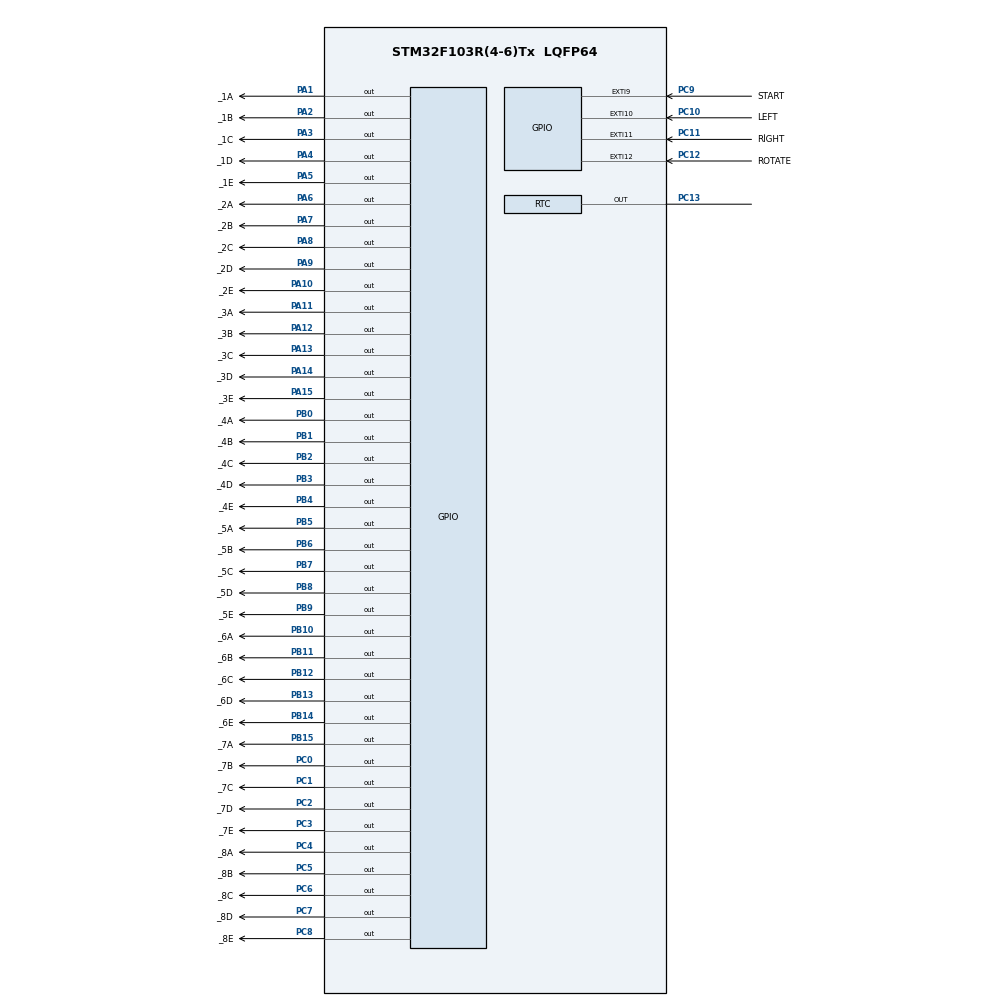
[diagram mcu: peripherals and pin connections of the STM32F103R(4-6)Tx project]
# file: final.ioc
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Mcu.Family=STM32F1
Mcu.Name=STM32F103R(4-6)Tx
Mcu.Package=LQFP64
NVIC.EXTI15_10_IRQn=true\:0\:0\:false\:false\:true\:true\:true
NVIC.EXTI9_5_IRQn=true\:0\:0\:false\:false\:true\:true\:true
NVIC.FLASH_IRQn=true\:0\:0\:false\:false\:true\:true\:true
NVIC.PVD_IRQn=true\:0\:0\:false\:false\:true\:true\:true
NVIC.PriorityGroup=NVIC_PRIORITYGROUP_4
NVIC.RCC_IRQn=true\:0\:0\:false\:false\:true\:true\:false
NVIC.RTC_Alarm_IRQn=true\:0\:0\:false\:false\:true\:true\:true
NVIC.RTC_IRQn=true\:0\:0\:false\:false\:true\:true\:true
PA1.GPIO_Label=_1A
PA1.Signal=GPIO_Output
PA10.GPIO_Label=_2E
PA10.Signal=GPIO_Output
PA11.GPIO_Label=_3A
PA11.Signal=GPIO_Output
PA12.GPIO_Label=_3B
PA12.Signal=GPIO_Output
PA13.GPIO_Label=_3C
PA13.Signal=GPIO_Output
PA14.GPIO_Label=_3D
PA14.Signal=GPIO_Output
PA15.GPIO_Label=_3E
PA15.Signal=GPIO_Output
PA2.GPIO_Label=_1B
PA2.Signal=GPIO_Output
PA3.GPIO_Label=_1C
PA3.Signal=GPIO_Output
PA4.GPIO_Label=_1D
PA4.Signal=GPIO_Output
PA5.GPIO_Label=_1E
PA5.Signal=GPIO_Output
PA6.GPIO_Label=_2A
PA6.Signal=GPIO_Output
PA7.GPIO_Label=_2B
PA7.Signal=GPIO_Output
PA8.GPIO_Label=_2C
PA8.Signal=GPIO_Output
PA9.GPIO_Label=_2D
PA9.Signal=GPIO_Output
PB0.GPIO_Label=_4A
PB0.Signal=GPIO_Output
PB1.GPIO_Label=_4B
PB1.Signal=GPIO_Output
PB10.GPIO_Label=_6A
PB10.Signal=GPIO_Output
PB11.GPIO_Label=_6B
PB11.Signal=GPIO_Output
PB12.GPIO_Label=_6C
PB12.Signal=GPIO_Output
PB13.GPIO_Label=_6D
PB13.Signal=GPIO_Output
PB14.GPIO_Label=_6E
PB14.Signal=GPIO_Output
PB15.GPIO_Label=_7A
PB15.Signal=GPIO_Output
PB2.GPIO_Label=_4C
PB2.Signal=GPIO_Output
PB3.GPIO_Label=_4D
PB3.Signal=GPIO_Output
PB4.GPIO_Label=_4E
PB4.Signal=GPIO_Output
PB5.GPIO_Label=_5A
PB5.Signal=GPIO_Output
PB6.GPIO_Label=_5B
PB6.Signal=GPIO_Output
PB7.GPIO_Label=_5C
PB7.Signal=GPIO_Output
PB8.GPIO_Label=_5D
PB8.Signal=GPIO_Output
PB9.GPIO_Label=_5E
PB9.Signal=GPIO_Output
PC0.GPIO_Label=_7B
PC0.Signal=GPIO_Output
PC1.GPIO_Label=_7C
PC1.Signal=GPIO_Output
PC10.GPIO_Label=LEFT
PC10.GPIO_PuPd=GPIO_PULLDOWN
PC10.Signal=GPXTI10
PC11.GPIO_Label=R\u0130GHT
PC11.GPIO_PuPd=GPIO_PULLDOWN
PC11.Signal=GPXTI11
PC12.GPIO_Label=ROTATE
PC12.GPIO_PuPd=GPIO_PULLDOWN
PC12.Signal=GPXTI12
PC13-TAMPER-RTC.Mode=RTC OUT
PC13-TAMPER-RTC.Signal=RTC_OUT
PC2.GPIO_Label=_7D
PC2.Signal=GPIO_Output
PC3.GPIO_Label=_7E
PC3.Signal=GPIO_Output
PC4.GPIO_Label=_8A
PC4.Signal=GPIO_Output
PC5.GPIO_Label=_8B
PC5.Signal=GPIO_Output
PC6.GPIO_Label=_8C
PC6.Signal=GPIO_Output
PC7.GPIO_Label=_8D
PC7.Signal=GPIO_Output
PC8.GPIO_Label=_8E
PC8.Signal=GPIO_Output
PC9.GPIO_Label=START
PC9.GPIO_PuPd=GPIO_PULLDOWN
PC9.Signal=GPXTI9
ProjectManager.HeapSize=0x200
ProjectManager.StackSize=0x400
ProjectManager.TargetToolchain=MDK-ARM V5.27
RCC.APB1Freq_Value=8000000
RCC.APB2Freq_Value=8000000
VP_RTC_VS_RTC_Activate.Mode=RTC_Enabled
VP_SYS_VS_ND.Mode=No_Debug
board=custom

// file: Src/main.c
/* USER CODE BEGIN Header */
/**
  ******************************************************************************
  * @file           : main.c
  * @brief          : Main program body
  ******************************************************************************
  * @attention
  *
  * <h2><center>&copy; Copyright (c) 2020 STMicroelectronics.
  * All rights reserved.</center></h2>
  *
  * This software component is licensed by ST under BSD 3-Clause license,
  * the "License"; You may not use this file except in compliance with the
  * License. You may obtain a copy of the License at:
  *                        opensource.org/licenses/BSD-3-Clause
  *
  ******************************************************************************
  */
/* USER CODE END Header */

#include "main.h"
#include <stdio.h>
#include <stdlib.h>
#include <time.h>

RTC_HandleTypeDef hrtc;
int matrix[8][5];
int currentShapeType;
int rotateCount = 0;
int miliseconds = 0;
int playing = 1;

struct point{
	int row;
	int col;
};

struct point currentShape[4];

void SystemClock_Config(void);
static void MX_GPIO_Init(void);
static void MX_RTC_Init(void);

/* USER CODE BEGIN 0 */
void pushShapeToMatrix(){
int i=0;
for(i=0; i<4; i++){
	if((currentShape[i].row != -1) && (currentShape[i].col != -1)){
		matrix[currentShape[i].row][currentShape[i].col] = 0;
	}
}
}

int generateShape(){
rotateCount = 0;
currentShapeType = rand() % 6;
//SHORT I
if(currentShapeType == 0 || currentShapeType == 5){
	if(matrix[7][2] == 0 || matrix[6][2] == 0) return 1;
	currentShape[0].row = 7;
	currentShape[0].col = 2;
	currentShape[1].row = 6;
	currentShape[1].col = 2;
	currentShape[2].row = -1;
	currentShape[2].col = -1;
	currentShape[3].row = -1;
	currentShape[3].col = -1;

}

//LONG I
else if(currentShapeType == 1){
	if(matrix[7][2] == 0 || matrix[6][2] == 0 || matrix[5][2] == 0) return 1;
	currentShape[0].row = 7;
	currentShape[0].col = 2;
	currentShape[1].row = 6;
	currentShape[1].col = 2;
	currentShape[2].row = 5;
	currentShape[2].col = 2;
	currentShape[3].row = -1;
	currentShape[3].col = -1;
}
// L
else if(currentShapeType == 2){
	if(matrix[7][2] == 0 || matrix[6][2] == 0 || matrix[6][3] == 0) return 1;
	currentShape[0].row = 7;
	currentShape[0].col = 2;
	currentShape[1].row = 6;
	currentShape[1].col = 2;
	currentShape[2].row = 6;
	currentShape[2].col = 3;
	currentShape[3].row = -1;
	currentShape[3].col = -1;
}

// Z
else if(currentShapeType == 3){
	if(matrix[7][2] == 0 || matrix[6][2] == 0 || matrix[6][3] == 0 || matrix[5][3] == 0) return 1;
	currentShape[0].row = 7;
	currentShape[0].col = 2;
	currentShape[1].row = 6;
	currentShape[1].col = 2;
	currentShape[2].row = 6;
	currentShape[2].col = 3;
	currentShape[3].row = 5;
	currentShape[3].col = 3;
}

// SQUARE

else{
	if(matrix[7][2] == 0 || matrix[6][2] == 0 || matrix[6][3] == 0 || matrix[7][3] == 0) return 1;
	currentShape[0].row = 7;
	currentShape[0].col = 2;
	currentShape[1].row = 6;
	currentShape[1].col = 2;
	currentShape[2].row = 6;
	currentShape[2].col = 3;
	currentShape[3].row = 7;
	currentShape[3].col = 3;
}

//PUSH SHAPE TO MATRIX
pushShapeToMatrix();
return 0;
}

int checkRowOfShape(int k, int c){
	int i=0;
	for(i=0; i<4; i++){
		if((currentShape[i].row != -1) && (currentShape[i].col != -1)){
		if(currentShape[i].row == k && currentShape[i].col == c){
			return 1;
		}
	}
	}
	return 0;
}

int checkSettled(){
	int i=0;
	for(i=0; i<4; i++){
		if((currentShape[i].row != -1) && (currentShape[i].col != -1)){
			int check = checkRowOfShape(currentShape[i].row - 1, currentShape[i].col);
			if((matrix[currentShape[i].row - 1][currentShape[i].col] == 0) && check == 0){
				return 1;
			}
			if(currentShape[i].row == 0){
				return 1;
			}
		}
	}
	return 0;
}

void cleanBackShape(){
	int i=0;
	for(i=0; i<4; i++){
		if((currentShape[i].row != -1) && (currentShape[i].col != -1)){
			matrix[currentShape[i].row][currentShape[i].col] = 1;
		}
	}
}

int shiftBelow(){
	cleanBackShape();
	int i=0;
	int n=0, k=0;
	for(i=0; i<4; i++){
		if((currentShape[i].row != -1) && (currentShape[i].col != -1)){
			k++;
			if((matrix[currentShape[i].row - 1][currentShape[i].col] == 1) && (currentShape[i].row - 1 >= 0)){
				n++;
			}
		}
	}
	if(k == n){
		for(i=0; i<4; i++){
			if((currentShape[i].row != -1) && (currentShape[i].col != -1)){
				currentShape[i].row --;
			}
		}
		pushShapeToMatrix();
		return 1;
	}
	else{
		pushShapeToMatrix();
		return 0;
	}
	/*cleanBackShape();
	int i=0;
	for(i=0; i<4; i++){
		if((currentShape[i].row != -1) && (currentShape[i].col != -1)){
			currentShape[i].row --;
		}
	}
	pushShapeToMatrix();
	*/
}

void resetMatrix(){
int i=0;
int j=0;
for(i=0; i<10; i++){
	for(j=0; j<5; j++){
		matrix[i][j] = 1;
	}
}
}
void setAllLeds(){
	// ROW 1
	HAL_GPIO_WritePin(GPIOA, _1A_Pin, matrix[0][0]);
	HAL_GPIO_WritePin(GPIOA, _1B_Pin, matrix[0][1]);
	HAL_GPIO_WritePin(GPIOA, _1C_Pin, matrix[0][2]);
	HAL_GPIO_WritePin(GPIOA, _1D_Pin, matrix[0][3]);
	HAL_GPIO_WritePin(GPIOA, _1E_Pin, matrix[0][4]);

	// ROW 2
	HAL_GPIO_WritePin(GPIOA, _2A_Pin, matrix[1][0]);
	HAL_GPIO_WritePin(GPIOA, _2B_Pin, matrix[1][1]);
	HAL_GPIO_WritePin(GPIOA, _2C_Pin, matrix[1][2]);
	HAL_GPIO_WritePin(GPIOA, _2D_Pin, matrix[1][3]);
	HAL_GPIO_WritePin(GPIOA, _2E_Pin, matrix[1][4]);

	// ROW 3
	HAL_GPIO_WritePin(GPIOA, _3A_Pin, matrix[2][0]);
	HAL_GPIO_WritePin(GPIOA, _3B_Pin, matrix[2][1]);
	HAL_GPIO_WritePin(GPIOA, _3C_Pin, matrix[2][2]);
	HAL_GPIO_WritePin(GPIOA, _3D_Pin, matrix[2][3]);
	HAL_GPIO_WritePin(GPIOA, _3E_Pin, matrix[2][4]);

	// ROW 4
	HAL_GPIO_WritePin(GPIOB, _4A_Pin, matrix[3][0]);
	HAL_GPIO_WritePin(GPIOB, _4B_Pin, matrix[3][1]);
	HAL_GPIO_WritePin(GPIOB, _4C_Pin, matrix[3][2]);
	HAL_GPIO_WritePin(GPIOB, _4D_Pin, matrix[3][3]);
	HAL_GPIO_WritePin(GPIOB, _4E_Pin, matrix[3][4]);

	// ROW 5
	HAL_GPIO_WritePin(GPIOB, _5A_Pin, matrix[4][0]);
	HAL_GPIO_WritePin(GPIOB, _5B_Pin, matrix[4][1]);
	HAL_GPIO_WritePin(GPIOB, _5C_Pin, matrix[4][2]);
	HAL_GPIO_WritePin(GPIOB, _5D_Pin, matrix[4][3]);
	HAL_GPIO_WritePin(GPIOB, _5E_Pin, matrix[4][4]);

	// ROW 6
	HAL_GPIO_WritePin(GPIOB, _6A_Pin, matrix[5][0]);
	HAL_GPIO_WritePin(GPIOB, _6B_Pin, matrix[5][1]);
	HAL_GPIO_WritePin(GPIOB, _6C_Pin, matrix[5][2]);
	HAL_GPIO_WritePin(GPIOB, _6D_Pin, matrix[5][3]);
	HAL_GPIO_WritePin(GPIOB, _6E_Pin, matrix[5][4]);

	// ROW 7
	HAL_GPIO_WritePin(GPIOB, _7A_Pin, matrix[6][0]);
	HAL_GPIO_WritePin(GPIOC, _7B_Pin, matrix[6][1]);
	HAL_GPIO_WritePin(GPIOC, _7C_Pin, matrix[6][2]);
	HAL_GPIO_WritePin(GPIOC, _7D_Pin, matrix[6][3]);
	HAL_GPIO_WritePin(GPIOC, _7E_Pin, matrix[6][4]);

	// ROW 8
	HAL_GPIO_WritePin(GPIOC, _8A_Pin, matrix[7][0]);
	HAL_GPIO_WritePin(GPIOC, _8B_Pin, matrix[7][1]);
	HAL_GPIO_WritePin(GPIOC, _8C_Pin, matrix[7][2]);
	HAL_GPIO_WritePin(GPIOC, _8D_Pin, matrix[7][3]);
	HAL_GPIO_WritePin(GPIOC, _8E_Pin, matrix[7][4]);

}
void rotateShortI(){
cleanBackShape();
int nRotate = rotateCount % 2;
if(nRotate == 0){
if((matrix[currentShape[1].row + 1][currentShape[1].col + 1] == 1) && (currentShape[1].row + 1 <=7) && (currentShape[1].col + 1 <=4)){
	currentShape[1].col++;
	currentShape[1].row++;
	rotateCount++;
}
}
else{
if((matrix[currentShape[1].row - 1][currentShape[1].col - 1] == 1) && (currentShape[1].row - 1 >=0) && (currentShape[1].col - 1 >= 0)){
	currentShape[1].col--;
	currentShape[1].row--;
	rotateCount++;
}
}
}
void rotateLongI(){
cleanBackShape();
int nRotate = rotateCount % 2;
if(nRotate == 0){
if((matrix[currentShape[0].row - 1][currentShape[0].col - 1] == 1) && (currentShape[0].row - 1 >=0) && (currentShape[0].col - 1 >= 0) &&
(matrix[currentShape[2].row + 1][currentShape[2].col + 1] == 1) && (currentShape[2].row + 1 <=7) && (currentShape[2].col + 1 <=4)
){
	currentShape[0].col--;
	currentShape[0].row--;
	currentShape[2].col++;
	currentShape[2].row++;
	rotateCount++;
}
}
else{
if((matrix[currentShape[0].row + 1][currentShape[0].col + 1] == 1) && (currentShape[0].row + 1 <=7) && (currentShape[0].col + 1 <= 4) &&
(matrix[currentShape[2].row - 1][currentShape[2].col - 1] == 1) && (currentShape[2].row - 1 >=0) && (currentShape[2].col - 1 >=0)
){
	currentShape[0].col++;
	currentShape[0].row++;
	currentShape[2].col--;
	currentShape[2].row--;
	rotateCount++;
}
}
}
void rotateZ(){
	cleanBackShape();
    int nRotate = rotateCount % 2;
    if(nRotate == 0){
        if((matrix[currentShape[0].row - 1][currentShape[0].col - 1] == 1) && (matrix[currentShape[0].row][currentShape[0].col + 1] == 1) && currentShape[0].col - 1 >= 0){
            currentShape[0].col--;
            currentShape[0].row--;
            currentShape[2].col--;
            currentShape[2].row++;
            currentShape[3].row+=2;
				rotateCount++;
        }
    }else{
        if((matrix[currentShape[1].row][currentShape[1].col + 1] == 1) && (matrix[currentShape[1].row - 1][currentShape[0].col + 1] == 1) && currentShape[0].row - 1 >= 0){
            currentShape[0].col++;
            currentShape[0].row++;
            currentShape[2].col++;
            currentShape[2].row--;
            currentShape[3].row-=2;
				rotateCount++;
        }
    }
}

void rotateL(){
	cleanBackShape();
    int nRotate = rotateCount % 4;
    if(nRotate == 0){
        if(matrix[currentShape[2].row + 1][currentShape[2].col] == 1){
            currentShape[0].row--;
            currentShape[1].col++;
            currentShape[2].row++;
					rotateCount++;
        }

    }else if(nRotate == 1){
        if(matrix[currentShape[2].row][currentShape[2].col - 1] == 1){
            currentShape[0].col++;
            currentShape[1].row++;
            currentShape[2].col--;
					rotateCount++;
        }
    }else if (nRotate == 2) {
        if(matrix[currentShape[2].row - 1][currentShape[2].col] == 1){
            currentShape[0].row++;
            currentShape[1].col--;
            currentShape[2].row--;
					rotateCount++;
        }
    } else {
        if(matrix[currentShape[2].row - 1][currentShape[2].col + 1] == 1){
            currentShape[0].col--;
            currentShape[1].row--;
            currentShape[2].col++;
					rotateCount++;
        }
    }
}

void rotate(){
// SHORT I
if(currentShapeType == 0 || currentShapeType == 5){
	rotateShortI();
}

//LONG I
else if(currentShapeType == 1){
	rotateLongI();
}
// L
else if(currentShapeType == 2){
	rotateL();
}

// Z
else if(currentShapeType == 3){
	rotateZ();
}

pushShapeToMatrix();
}

void removeRow(){
	int i,j, rows=0, check = 0, startRow=0;
	for(i=0; i<8; i++){
		int k = 0;
		for(j=0; j<5; j++){
			if(matrix[i][j] == 0)
				k++;
		}
		if(k == 5){
			rows++;
		}
		if(k==5 && check == 0){
			check = 1;
			startRow = i;
		}
	}
	if(rows > 0){
	for(i=startRow; i<8-rows; i++){
		for(j=0; j<5; j++){
			matrix[i][j] = matrix[i+rows][j];
			matrix[i+rows][j] = 1;
		}
	}
}
}

void shiftLeft(){
cleanBackShape();
	int i=0;
	int n=0, k=0;
	for(i=0; i<4; i++){
		if((currentShape[i].row != -1) && (currentShape[i].col != -1)){
			k++;
			if((matrix[currentShape[i].row][currentShape[i].col - 1] == 1) && (currentShape[i].col - 1 >= 0)){
				n++;
			}
		}
	}
	if(k == n){
		for(i=0; i<4; i++){
			if((currentShape[i].row != -1) && (currentShape[i].col != -1)){
				currentShape[i].col --;
			}
		}
		pushShapeToMatrix();
	}
}

void shiftRight(){
cleanBackShape();
	int i=0;
	int n=0, k=0;
	for(i=0; i<4; i++){
		if((currentShape[i].row != -1) && (currentShape[i].col != -1)){
			k++;
			if((matrix[currentShape[i].row][currentShape[i].col + 1] == 1) && (currentShape[i].col + 1 <= 4)){
				n++;
			}
		}
	}
	if(k == n){
		for(i=0; i<4; i++){
			if((currentShape[i].row != -1) && (currentShape[i].col != -1)){
				currentShape[i].col ++;
			}
		}
		pushShapeToMatrix();
	}
}

void restart(){
	resetMatrix();
	generateShape();
	setAllLeds();
	playing = 1;
}
/* USER CODE END 0 */

int main(void)
{

  /* MCU Configuration--------------------------------------------------------*/

  /* Reset of all peripherals, Initializes the Flash interface and the Systick. */
  HAL_Init();

  /* Configure the system clock */
  SystemClock_Config();

  /* Initialize all configured peripherals */
  MX_GPIO_Init();
  MX_RTC_Init();
  /* USER CODE BEGIN 2 */
	srand(5);
	resetMatrix();
	generateShape();
	setAllLeds();

  /* USER CODE END 2 */

  /* Infinite loop */
  while (1)
  {
		HAL_Delay(500);
		int check = shiftBelow();
		setAllLeds();
		if(check == 0){ // if shape is settled create new one
			removeRow();
			setAllLeds();
			int res = generateShape();
			if(res == 0)
				setAllLeds();
			else{
				playing = 0;
				while(playing);
			}
		}

  }
}

void SystemClock_Config(void)
{
  RCC_OscInitTypeDef RCC_OscInitStruct = {0};
  RCC_ClkInitTypeDef RCC_ClkInitStruct = {0};
  RCC_PeriphCLKInitTypeDef PeriphClkInit = {0};

  /** Initializes the CPU, AHB and APB busses clocks
  */
  RCC_OscInitStruct.OscillatorType = RCC_OSCILLATORTYPE_HSI|RCC_OSCILLATORTYPE_LSI;
  RCC_OscInitStruct.HSIState = RCC_HSI_ON;
  RCC_OscInitStruct.HSICalibrationValue = RCC_HSICALIBRATION_DEFAULT;
  RCC_OscInitStruct.LSIState = RCC_LSI_ON;
  RCC_OscInitStruct.PLL.PLLState = RCC_PLL_NONE;
  if (HAL_RCC_OscConfig(&RCC_OscInitStruct) != HAL_OK)
  {
    Error_Handler();
  }
  /** Initializes the CPU, AHB and APB busses clocks
  */
  RCC_ClkInitStruct.ClockType = RCC_CLOCKTYPE_HCLK|RCC_CLOCKTYPE_SYSCLK
                              |RCC_CLOCKTYPE_PCLK1|RCC_CLOCKTYPE_PCLK2;
  RCC_ClkInitStruct.SYSCLKSource = RCC_SYSCLKSOURCE_HSI;
  RCC_ClkInitStruct.AHBCLKDivider = RCC_SYSCLK_DIV1;
  RCC_ClkInitStruct.APB1CLKDivider = RCC_HCLK_DIV1;
  RCC_ClkInitStruct.APB2CLKDivider = RCC_HCLK_DIV1;

  if (HAL_RCC_ClockConfig(&RCC_ClkInitStruct, FLASH_LATENCY_0) != HAL_OK)
  {
    Error_Handler();
  }
  PeriphClkInit.PeriphClockSelection = RCC_PERIPHCLK_RTC;
  PeriphClkInit.RTCClockSelection = RCC_RTCCLKSOURCE_LSI;
  if (HAL_RCCEx_PeriphCLKConfig(&PeriphClkInit) != HAL_OK)
  {
    Error_Handler();
  }
}

static void MX_RTC_Init(void)
{

  RTC_TimeTypeDef sTime = {0};
  RTC_DateTypeDef DateToUpdate = {0};
  RTC_AlarmTypeDef sAlarm = {0};

  /** Initialize RTC Only
  */
  hrtc.Instance = RTC;
  hrtc.Init.AsynchPrediv = RTC_AUTO_1_SECOND;
  hrtc.Init.OutPut = RTC_OUTPUTSOURCE_ALARM;
  if (HAL_RTC_Init(&hrtc) != HAL_OK)
  {
    Error_Handler();
  }

  /** Initialize RTC and set the Time and Date
  */
  sTime.Hours = 0x0;
  sTime.Minutes = 0x0;
  sTime.Seconds = 0x0;

  if (HAL_RTC_SetTime(&hrtc, &sTime, RTC_FORMAT_BCD) != HAL_OK)
  {
    Error_Handler();
  }
  DateToUpdate.WeekDay = RTC_WEEKDAY_MONDAY;
  DateToUpdate.Month = RTC_MONTH_JANUARY;
  DateToUpdate.Date = 0x1;
  DateToUpdate.Year = 0x0;

  if (HAL_RTC_SetDate(&hrtc, &DateToUpdate, RTC_FORMAT_BCD) != HAL_OK)
  {
    Error_Handler();
  }
  /** Enable the Alarm A
  */
  sAlarm.AlarmTime.Hours = 0x0;
  sAlarm.AlarmTime.Minutes = 0x0;
  sAlarm.AlarmTime.Seconds = 0x0;
  sAlarm.Alarm = RTC_ALARM_A;
  if (HAL_RTC_SetAlarm_IT(&hrtc, &sAlarm, RTC_FORMAT_BCD) != HAL_OK)
  {
    Error_Handler();
  }

}

static void MX_GPIO_Init(void)
{
  GPIO_InitTypeDef GPIO_InitStruct = {0};

  /* GPIO Ports Clock Enable */
  __HAL_RCC_GPIOC_CLK_ENABLE();
  __HAL_RCC_GPIOA_CLK_ENABLE();
  __HAL_RCC_GPIOB_CLK_ENABLE();

  /*Configure GPIO pin Output Level */
  HAL_GPIO_WritePin(GPIOC, _7B_Pin|_7C_Pin|_7D_Pin|_7E_Pin
                          |_8A_Pin|_8B_Pin|_8C_Pin|_8D_Pin
                          |_8E_Pin, GPIO_PIN_RESET);

  /*Configure GPIO pin Output Level */
  HAL_GPIO_WritePin(GPIOA, _1A_Pin|_1B_Pin|_1C_Pin|_1D_Pin
                          |_1E_Pin|_2A_Pin|_2B_Pin|_2C_Pin
                          |_2D_Pin|_2E_Pin|_3A_Pin|_3B_Pin
                          |_3C_Pin|_3D_Pin|_3E_Pin, GPIO_PIN_RESET);

  /*Configure GPIO pin Output Level */
  HAL_GPIO_WritePin(GPIOB, _4A_Pin|_4B_Pin|_4C_Pin|_6A_Pin
                          |_6B_Pin|_6C_Pin|_6D_Pin|_6E_Pin
                          |_7A_Pin|_4D_Pin|_4E_Pin|_5A_Pin
                          |_5B_Pin|_5C_Pin|_5D_Pin|_5E_Pin, GPIO_PIN_RESET);

  /*Configure GPIO pins : _7B_Pin _7C_Pin _7D_Pin _7E_Pin
                           _8A_Pin _8B_Pin _8C_Pin _8D_Pin
                           _8E_Pin */
  GPIO_InitStruct.Pin = _7B_Pin|_7C_Pin|_7D_Pin|_7E_Pin
                          |_8A_Pin|_8B_Pin|_8C_Pin|_8D_Pin
                          |_8E_Pin;
  GPIO_InitStruct.Mode = GPIO_MODE_OUTPUT_PP;
  GPIO_InitStruct.Pull = GPIO_NOPULL;
  GPIO_InitStruct.Speed = GPIO_SPEED_FREQ_LOW;
  HAL_GPIO_Init(GPIOC, &GPIO_InitStruct);

  /*Configure GPIO pins : _1A_Pin _1B_Pin _1C_Pin _1D_Pin
                           _1E_Pin _2A_Pin _2B_Pin _2C_Pin
                           _2D_Pin _2E_Pin _3A_Pin _3B_Pin
                           _3C_Pin _3D_Pin _3E_Pin */
  GPIO_InitStruct.Pin = _1A_Pin|_1B_Pin|_1C_Pin|_1D_Pin
                          |_1E_Pin|_2A_Pin|_2B_Pin|_2C_Pin
                          |_2D_Pin|_2E_Pin|_3A_Pin|_3B_Pin
                          |_3C_Pin|_3D_Pin|_3E_Pin;
  GPIO_InitStruct.Mode = GPIO_MODE_OUTPUT_PP;
  GPIO_InitStruct.Pull = GPIO_NOPULL;
  GPIO_InitStruct.Speed = GPIO_SPEED_FREQ_LOW;
  HAL_GPIO_Init(GPIOA, &GPIO_InitStruct);

  /*Configure GPIO pins : _4A_Pin _4B_Pin _4C_Pin _6A_Pin
                           _6B_Pin _6C_Pin _6D_Pin _6E_Pin
                           _7A_Pin _4D_Pin _4E_Pin _5A_Pin
                           _5B_Pin _5C_Pin _5D_Pin _5E_Pin */
  GPIO_InitStruct.Pin = _4A_Pin|_4B_Pin|_4C_Pin|_6A_Pin
                          |_6B_Pin|_6C_Pin|_6D_Pin|_6E_Pin
                          |_7A_Pin|_4D_Pin|_4E_Pin|_5A_Pin
                          |_5B_Pin|_5C_Pin|_5D_Pin|_5E_Pin;
  GPIO_InitStruct.Mode = GPIO_MODE_OUTPUT_PP;
  GPIO_InitStruct.Pull = GPIO_NOPULL;
  GPIO_InitStruct.Speed = GPIO_SPEED_FREQ_LOW;
  HAL_GPIO_Init(GPIOB, &GPIO_InitStruct);

  /*Configure GPIO pins : START_Pin LEFT_Pin R_GHT_Pin ROTATE_Pin */
  GPIO_InitStruct.Pin = START_Pin|LEFT_Pin|R_GHT_Pin|ROTATE_Pin;
  GPIO_InitStruct.Mode = GPIO_MODE_IT_RISING;
  GPIO_InitStruct.Pull = GPIO_PULLDOWN;
  HAL_GPIO_Init(GPIOC, &GPIO_InitStruct);

  /* EXTI interrupt init*/
  HAL_NVIC_SetPriority(EXTI9_5_IRQn, 0, 0);
  HAL_NVIC_EnableIRQ(EXTI9_5_IRQn);

  HAL_NVIC_SetPriority(EXTI15_10_IRQn, 0, 0);
  HAL_NVIC_EnableIRQ(EXTI15_10_IRQn);

}

/* USER CODE BEGIN 4 */

void HAL_GPIO_EXTI_Callback(uint16_t GPIO_Pin){
UNUSED(GPIO_Pin);
	int tempMiliseconds = HAL_GetTick();
	if(tempMiliseconds - miliseconds <= 300){
		return;
	}
	miliseconds = HAL_GetTick();
	switch(GPIO_Pin){
		case START_Pin: restart(); break;
		case ROTATE_Pin:  rotate(); break;
		case LEFT_Pin: shiftLeft(); break;
		case R_GHT_Pin: shiftRight(); break;
	}
}
/* USER CODE END 4 */

void Error_Handler(void)
{
}

/************************ (C) COPYRIGHT STMicroelectronics *****END OF FILE****/
